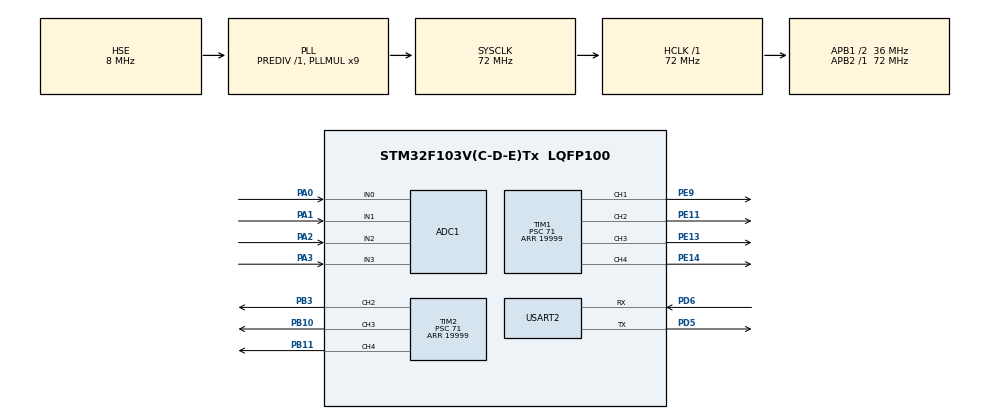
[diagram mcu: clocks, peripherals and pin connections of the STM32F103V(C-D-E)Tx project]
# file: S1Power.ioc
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ADC1.Channel-0\#ChannelRegularConversion=ADC_CHANNEL_0
ADC1.Channel-1\#ChannelRegularConversion=ADC_CHANNEL_1
ADC1.Channel-2\#ChannelRegularConversion=ADC_CHANNEL_2
ADC1.Channel-3\#ChannelRegularConversion=ADC_CHANNEL_3
ADC1.ContinuousConvMode=ENABLE
ADC1.DiscontinuousConvMode=DISABLE
ADC1.NbrOfConversion=4
ADC1.NbrOfConversionFlag=1
ADC1.Rank-0\#ChannelRegularConversion=1
ADC1.Rank-1\#ChannelRegularConversion=2
ADC1.Rank-2\#ChannelRegularConversion=3
ADC1.Rank-3\#ChannelRegularConversion=4
ADC1.SamplingTime-0\#ChannelRegularConversion=ADC_SAMPLETIME_13CYCLES_5
ADC1.SamplingTime-1\#ChannelRegularConversion=ADC_SAMPLETIME_13CYCLES_5
ADC1.SamplingTime-2\#ChannelRegularConversion=ADC_SAMPLETIME_13CYCLES_5
ADC1.SamplingTime-3\#ChannelRegularConversion=ADC_SAMPLETIME_13CYCLES_5
ADC1.master=1
Dma.ADC1.2.Direction=DMA_PERIPH_TO_MEMORY
Dma.ADC1.2.Instance=DMA1_Channel1
Dma.ADC1.2.MemDataAlignment=DMA_MDATAALIGN_WORD
Dma.ADC1.2.MemInc=DMA_MINC_ENABLE
Dma.ADC1.2.Mode=DMA_CIRCULAR
Dma.ADC1.2.PeriphDataAlignment=DMA_PDATAALIGN_WORD
Dma.ADC1.2.PeriphInc=DMA_PINC_DISABLE
Dma.ADC1.2.Priority=DMA_PRIORITY_LOW
Dma.Request0=USART2_RX
Dma.Request1=USART2_TX
Dma.Request2=ADC1
Dma.USART2_RX.0.Direction=DMA_PERIPH_TO_MEMORY
Dma.USART2_RX.0.Instance=DMA1_Channel6
Dma.USART2_RX.0.MemDataAlignment=DMA_MDATAALIGN_BYTE
Dma.USART2_RX.0.MemInc=DMA_MINC_ENABLE
Dma.USART2_RX.0.Mode=DMA_NORMAL
Dma.USART2_RX.0.PeriphDataAlignment=DMA_PDATAALIGN_BYTE
Dma.USART2_RX.0.PeriphInc=DMA_PINC_DISABLE
Dma.USART2_RX.0.Priority=DMA_PRIORITY_LOW
Dma.USART2_TX.1.Direction=DMA_MEMORY_TO_PERIPH
Dma.USART2_TX.1.Instance=DMA1_Channel7
Dma.USART2_TX.1.MemDataAlignment=DMA_MDATAALIGN_BYTE
Dma.USART2_TX.1.MemInc=DMA_MINC_ENABLE
Dma.USART2_TX.1.Mode=DMA_NORMAL
Dma.USART2_TX.1.PeriphDataAlignment=DMA_PDATAALIGN_BYTE
Dma.USART2_TX.1.PeriphInc=DMA_PINC_DISABLE
Dma.USART2_TX.1.Priority=DMA_PRIORITY_LOW
IWDG.Prescaler=IWDG_PRESCALER_64
IWDG.Reload=250
Mcu.Family=STM32F1
Mcu.Name=STM32F103V(C-D-E)Tx
Mcu.Package=LQFP100
NVIC.DMA1_Channel1_IRQn=true\:0\:0\:false\:false\:true\:false\:true
NVIC.DMA1_Channel6_IRQn=true\:0\:0\:false\:false\:true\:false\:true
NVIC.DMA1_Channel7_IRQn=true\:0\:0\:false\:false\:true\:false\:true
NVIC.PriorityGroup=NVIC_PRIORITYGROUP_4
NVIC.USART2_IRQn=true\:0\:0\:false\:false\:true\:true\:true
OSC_IN.Mode=HSE-External-Oscillator
OSC_IN.Signal=RCC_OSC_IN
OSC_OUT.Mode=HSE-External-Oscillator
OSC_OUT.Signal=RCC_OSC_OUT
PA0-WKUP.Signal=ADCx_IN0
PA1.Signal=ADCx_IN1
PA13.Mode=Serial_Wire
PA13.Signal=SYS_JTMS-SWDIO
PA14.Mode=Serial_Wire
PA14.Signal=SYS_JTCK-SWCLK
PA2.Signal=ADCx_IN2
PA3.Signal=ADCx_IN3
PB10.Signal=S_TIM2_CH3
PB11.Signal=S_TIM2_CH4
PB3.Signal=S_TIM2_CH2
PC14-OSC32_IN.Mode=LSE-External-Oscillator
PC14-OSC32_IN.Signal=RCC_OSC32_IN
PC15-OSC32_OUT.Mode=LSE-External-Oscillator
PC15-OSC32_OUT.Signal=RCC_OSC32_OUT
PD5.Mode=Asynchronous
PD5.Signal=USART2_TX
PD6.Mode=Asynchronous
PD6.Signal=USART2_RX
PE11.Signal=S_TIM1_CH2
PE13.Signal=S_TIM1_CH3
PE14.Signal=S_TIM1_CH4
PE9.Signal=S_TIM1_CH1
ProjectManager.HeapSize=0x200
ProjectManager.StackSize=0x400
ProjectManager.TargetToolchain=Other Toolchains (GPDSC)
RCC.ADCPresc=RCC_ADCPCLK2_DIV6
RCC.AHBFreq_Value=72000000
RCC.APB1CLKDivider=RCC_HCLK_DIV2
RCC.APB1Freq_Value=36000000
RCC.APB1TimFreq_Value=72000000
RCC.APB2Freq_Value=72000000
RCC.APB2TimFreq_Value=72000000
RCC.HCLKFreq_Value=72000000
RCC.PLLMUL=RCC_PLL_MUL9
RCC.PLLSourceVirtual=RCC_PLLSOURCE_HSE
RCC.SYSCLKFreq_VALUE=72000000
RCC.SYSCLKSource=RCC_SYSCLKSOURCE_PLLCLK
RCC.USBFreq_Value=72000000
SH.ADCx_IN0.0=ADC1_IN0,IN0
SH.ADCx_IN1.0=ADC1_IN1,IN1
SH.ADCx_IN2.0=ADC1_IN2,IN2
SH.ADCx_IN3.0=ADC1_IN3,IN3
SH.S_TIM1_CH1.0=TIM1_CH1,PWM Generation1 CH1
SH.S_TIM1_CH2.0=TIM1_CH2,PWM Generation2 CH2
SH.S_TIM1_CH3.0=TIM1_CH3,PWM Generation3 CH3
SH.S_TIM1_CH4.0=TIM1_CH4,PWM Generation4 CH4
SH.S_TIM2_CH2.0=TIM2_CH2,PWM Generation2 CH2
SH.S_TIM2_CH3.0=TIM2_CH3,PWM Generation3 CH3
SH.S_TIM2_CH4.0=TIM2_CH4,PWM Generation4 CH4
TIM1.Channel-PWM\ Generation1\ CH1=TIM_CHANNEL_1
TIM1.Channel-PWM\ Generation2\ CH2=TIM_CHANNEL_2
TIM1.Channel-PWM\ Generation3\ CH3=TIM_CHANNEL_3
TIM1.Channel-PWM\ Generation4\ CH4=TIM_CHANNEL_4
TIM1.Period=19999
TIM1.Prescaler=71
TIM1.Pulse-PWM\ Generation2\ CH2=1500
TIM1.Pulse-PWM\ Generation3\ CH3=1500
TIM1.Pulse-PWM\ Generation4\ CH4=1500
TIM2.Channel-PWM\ Generation2\ CH2=TIM_CHANNEL_2
TIM2.Channel-PWM\ Generation3\ CH3=TIM_CHANNEL_3
TIM2.Channel-PWM\ Generation4\ CH4=TIM_CHANNEL_4
TIM2.Period=19999
TIM2.Prescaler=71
TIM2.Pulse-PWM\ Generation2\ CH2=1500
TIM2.Pulse-PWM\ Generation3\ CH3=1500
TIM2.Pulse-PWM\ Generation4\ CH4=1500
USART2.VirtualMode=VM_ASYNC
VP_IWDG_VS_IWDG.Mode=IWDG_Activate
VP_TIM1_VS_ClockSourceINT.Mode=Internal
VP_TIM2_VS_ClockSourceINT.Mode=Internal
board=custom

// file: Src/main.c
/* USER CODE BEGIN Header */
/**
  ******************************************************************************
  * @file           : main.c
  * @brief          : Main program body
  ******************************************************************************
  * @attention
  *
  * <h2><center>&copy; Copyright (c) 2019 STMicroelectronics.
  * All rights reserved.</center></h2>
  *
  * This software component is licensed by ST under BSD 3-Clause license,
  * the "License"; You may not use this file except in compliance with the
  * License. You may obtain a copy of the License at:
  *                        opensource.org/licenses/BSD-3-Clause
  *
  ******************************************************************************
  */
/* USER CODE END Header */

#include "main.h"

ADC_HandleTypeDef hadc1;
DMA_HandleTypeDef hdma_adc1;

IWDG_HandleTypeDef hiwdg;

TIM_HandleTypeDef htim1;
TIM_HandleTypeDef htim2;

UART_HandleTypeDef huart2;
DMA_HandleTypeDef hdma_usart2_rx;
DMA_HandleTypeDef hdma_usart2_tx;

/* USER CODE BEGIN PV */
u8 SystemBegin = 0;
vu8 UART2RX_Len = 0;
vu8 UART2RX_Finish = 0;
u8 UART2RX_Cache[70];
char UART2RX_CacheSize = 70;
u8 ModeFlag = 0;
u8 AFlag, BFlag, CFlag, DFlag;
u16 XPoint, YPoint, ZPoint;
int Machine[4];
u8 Mode = 0;
float ModeCoefficient = 1;
u8* UART2RX_Position = NULL;
u8 UART2TX_Send[5] = "$0:0%";
u8 UART2TX_Size = 5;
u8 UART2TX_Initialization[5] = "$9:9%";
uint32_t ADCCache[4];
double ADCResult[4];
/* USER CODE END PV */

void SystemClock_Config(void);
static void MX_GPIO_Init(void);
static void MX_DMA_Init(void);
static void MX_ADC1_Init(void);
static void MX_TIM1_Init(void);
static void MX_TIM2_Init(void);
static void MX_USART2_UART_Init(void);
static void MX_IWDG_Init(void);

int main(void)
{

  /* MCU Configuration--------------------------------------------------------*/

  /* Reset of all peripherals, Initializes the Flash interface and the Systick. */
  HAL_Init();

  /* Configure the system clock */
  SystemClock_Config();

  /* Initialize all configured peripherals */
  MX_GPIO_Init();
  MX_DMA_Init();
  MX_ADC1_Init();
  MX_TIM1_Init();
  MX_TIM2_Init();
  MX_USART2_UART_Init();
  MX_IWDG_Init();
  /* USER CODE BEGIN 2 */
	while (!SystemBegin)
	{
		if (UART2RX_Finish == 1)
		{
			UART2RX_Finish = 0;
			if ((UART2RX_Position[1]) <= '9' && (UART2RX_Position[1]) >= '0')
			{
				SystemBegin = 1;
			}
			HAL_UART_Receive_DMA(&huart2, UART2RX_Cache, UART2RX_CacheSize);
		}
		HAL_IWDG_Refresh(&hiwdg);
	}
	HAL_IWDG_Refresh(&hiwdg);
	HAL_ADCEx_Calibration_Start(&hadc1);
	HAL_ADC_Start_DMA(&hadc1, ADCCache, 4);
	HAL_TIM_PWM_Start(&htim1, TIM_CHANNEL_1);
	HAL_TIM_PWM_Start(&htim1, TIM_CHANNEL_2);
	HAL_TIM_PWM_Start(&htim1, TIM_CHANNEL_3);
	HAL_TIM_PWM_Start(&htim1, TIM_CHANNEL_4);
	HAL_TIM_PWM_Start(&htim2, TIM_CHANNEL_2);
	HAL_TIM_PWM_Start(&htim2, TIM_CHANNEL_3);
	TIM1->CCR1 = 1500;
	TIM1->CCR2 = 1500;
	TIM1->CCR3 = 1500;
	TIM1->CCR4 = 1500;
	TIM2->CCR2 = 1500;
	TIM2->CCR3 = 1500;
	HAL_UART_Transmit_DMA(&huart2, UART2TX_Initialization, UART2TX_Size);
  /* USER CODE END 2 */

  /* Infinite loop */
	while (1)
	{

    /* USER CODE BEGIN 3 */
		HAL_IWDG_Refresh(&hiwdg);
		if (UART2RX_Finish == 1)
		{
			UART2RX_Finish = 0;
			ModeFlag = (UART2RX_Position[1] - '0');
			XPoint = (UART2RX_Position[3] - '0') * 100 + (UART2RX_Position[4] - '0') * 10 + (UART2RX_Position[5] - '0');
			YPoint = (UART2RX_Position[7] - '0') * 100 + (UART2RX_Position[8] - '0') * 10 + (UART2RX_Position[9] - '0');
			ZPoint = (UART2RX_Position[11] - '0') * 100 + (UART2RX_Position[12] - '0') * 10 + (UART2RX_Position[13] - '0');
			AFlag = (XPoint > YPoint);
			BFlag = ((XPoint + YPoint) > 200);
			CFlag = (XPoint > 100);
			DFlag = (YPoint > 100);
			switch (ModeFlag)
			{
			case 0:
				ModeCoefficient = 0.8;
				if (BFlag == 1)
				{
					if (CFlag == 0)
					{
						Mode = 3;
					}
					else if (DFlag == 0)
					{
						Mode = 4;
					}
					else
					{
						if (AFlag == 1)
						{
							Mode = 1;
						}
						else
						{
							Mode = 2;
						}
					}
				}
				else
				{
					if (CFlag == 1)
					{
						Mode = 3;
					}
					else if (DFlag == 1)
					{
						Mode = 4;
					}
					else
					{
						if (AFlag == 0)
						{
							Mode = 1;
						}
						else
						{
							Mode = 2;
						}
					}
				}
				break;
			case 1:
				ModeCoefficient = 0.8;
				Mode = 5;
				break;
			case 2:
				ModeCoefficient = 1;
				if (BFlag == 1)
				{
					if (CFlag == 0)
					{
						Mode = 3;
					}
					else if (DFlag == 0)
					{
						Mode = 4;
					}
					else
					{
						if (AFlag == 1)
						{
							Mode = 1;
						}
						else
						{
							Mode = 2;
						}
					}
				}
				else
				{
					if (CFlag == 1)
					{
						Mode = 3;
					}
					else if (DFlag == 1)
					{
						Mode = 4;
					}
					else
					{
						if (AFlag == 0)
						{
							Mode = 1;
						}
						else
						{
							Mode = 2;
						}
					}
				}
				break;
			case 3:
				ModeCoefficient = 1;
				Mode = 5;
				break;
			}

			switch (Mode)
			{
			case 1:
				Machine[0] = XPoint;
				Machine[1] = XPoint;
				Machine[2] = (100 - XPoint + YPoint);
				Machine[3] = (100 - XPoint + YPoint);
				for (int i = 0; i < 4; ++i)
				{
					Machine[i] = (int)(((Machine[i]) * 10 - 1000)*ModeCoefficient) + 1500;
				}
				ZPoint = ZPoint * 10 + 500;
				TIM1->CCR1 = Machine[0];
				TIM1->CCR2 = Machine[1];
				TIM1->CCR4 = Machine[2];
				TIM1->CCR3 = Machine[3];
				TIM2->CCR2 = ZPoint;
				TIM2->CCR3 = ZPoint;
				break;
			case 2:
				Machine[0] = YPoint;
				Machine[1] = YPoint;
				Machine[2] = (100 - XPoint + YPoint);
				Machine[3] = (100 - XPoint + YPoint);
				for (int i = 0; i < 4; ++i)
				{
					Machine[i] = (int)(((Machine[i]) * 10 - 1000)*ModeCoefficient) + 1500;
				}
				ZPoint = ZPoint * 10 + 500;
				TIM1->CCR1 = Machine[0];
				TIM1->CCR2 = Machine[1];
				TIM1->CCR4 = Machine[2];
				TIM1->CCR3 = Machine[3];
				TIM2->CCR2 = ZPoint;
				TIM2->CCR3 = ZPoint;
				break;
			case 3:
				Machine[0] = (XPoint + YPoint - 100);
				Machine[1] = (XPoint + YPoint - 100);
				Machine[2] = YPoint;
				Machine[3] = YPoint;
				for (int i = 0; i < 4; ++i)
				{
					Machine[i] = (int)(((Machine[i]) * 10 - 1000)*ModeCoefficient) + 1500;
				}
				ZPoint = ZPoint * 10 + 500;
				TIM1->CCR1 = Machine[0];
				TIM1->CCR2 = Machine[1];
				TIM1->CCR4 = Machine[2];
				TIM1->CCR3 = Machine[3];
				TIM2->CCR2 = ZPoint;
				TIM2->CCR3 = ZPoint;
				break;
			case 4:
				Machine[0] = (XPoint + YPoint - 100);
				Machine[1] = (XPoint + YPoint - 100);
				Machine[2] = (200 - XPoint);
				Machine[3] = (200 - XPoint);
				for (int i = 0; i < 4; ++i)
				{
					Machine[i] = (int)(((Machine[i]) * 10 - 1000)*ModeCoefficient) + 1500;
				}
				ZPoint = ZPoint * 10 + 500;
				TIM1->CCR1 = Machine[0];
				TIM1->CCR2 = Machine[1];
				TIM1->CCR4 = Machine[2];
				TIM1->CCR3 = Machine[3];
				TIM2->CCR2 = ZPoint;
				TIM2->CCR3 = ZPoint;
				break;
			case 5:
				Machine[0] = XPoint;
				Machine[1] = (200 - XPoint);
				Machine[2] = XPoint;
				Machine[3] = 200 - XPoint;
				for (int i = 0; i < 4; ++i)
				{
					Machine[i] = (int)(((Machine[i]) * 10 - 1000)*ModeCoefficient) + 1500;
				}
				ZPoint = ZPoint * 10 + 500;
				TIM1->CCR1 = Machine[0];
				TIM1->CCR2 = Machine[1];
				TIM1->CCR4 = Machine[2];
				TIM1->CCR3 = Machine[3];
				TIM2->CCR2 = ZPoint;
				TIM2->CCR3 = ZPoint;
				break;
			}
			for (int i = 0; i < 4; ++i)
			{
				ADCResult[i] = 3.3 / 4096*ADCCache[i];
			}
			if ((ADCResult[2]) > 2)
			{
				UART2TX_Send[1] = '1';
			}
			else
			{
				UART2TX_Send[1] = '0';
			}
			if ((ADCResult[3]) > 2)
			{
				UART2TX_Send[3] = '1';
			}
			else
			{
				UART2TX_Send[3] = '0';
			}
			HAL_UART_Transmit_DMA(&huart2, UART2TX_Send, UART2TX_Size);
			HAL_UART_Receive_DMA(&huart2, UART2RX_Cache, UART2RX_CacheSize);

		}
	}
  /* USER CODE END 3 */
}

void SystemClock_Config(void)
{
  RCC_OscInitTypeDef RCC_OscInitStruct = {0};
  RCC_ClkInitTypeDef RCC_ClkInitStruct = {0};
  RCC_PeriphCLKInitTypeDef PeriphClkInit = {0};

  /** Initializes the CPU, AHB and APB busses clocks
  */
  RCC_OscInitStruct.OscillatorType = RCC_OSCILLATORTYPE_LSI|RCC_OSCILLATORTYPE_HSE;
  RCC_OscInitStruct.HSEState = RCC_HSE_ON;
  RCC_OscInitStruct.HSEPredivValue = RCC_HSE_PREDIV_DIV1;
  RCC_OscInitStruct.HSIState = RCC_HSI_ON;
  RCC_OscInitStruct.LSIState = RCC_LSI_ON;
  RCC_OscInitStruct.PLL.PLLState = RCC_PLL_ON;
  RCC_OscInitStruct.PLL.PLLSource = RCC_PLLSOURCE_HSE;
  RCC_OscInitStruct.PLL.PLLMUL = RCC_PLL_MUL9;
  if (HAL_RCC_OscConfig(&RCC_OscInitStruct) != HAL_OK)
  {
    Error_Handler();
  }
  /** Initializes the CPU, AHB and APB busses clocks
  */
  RCC_ClkInitStruct.ClockType = RCC_CLOCKTYPE_HCLK|RCC_CLOCKTYPE_SYSCLK
                              |RCC_CLOCKTYPE_PCLK1|RCC_CLOCKTYPE_PCLK2;
  RCC_ClkInitStruct.SYSCLKSource = RCC_SYSCLKSOURCE_PLLCLK;
  RCC_ClkInitStruct.AHBCLKDivider = RCC_SYSCLK_DIV1;
  RCC_ClkInitStruct.APB1CLKDivider = RCC_HCLK_DIV2;
  RCC_ClkInitStruct.APB2CLKDivider = RCC_HCLK_DIV1;

  if (HAL_RCC_ClockConfig(&RCC_ClkInitStruct, FLASH_LATENCY_2) != HAL_OK)
  {
    Error_Handler();
  }
  PeriphClkInit.PeriphClockSelection = RCC_PERIPHCLK_ADC;
  PeriphClkInit.AdcClockSelection = RCC_ADCPCLK2_DIV6;
  if (HAL_RCCEx_PeriphCLKConfig(&PeriphClkInit) != HAL_OK)
  {
    Error_Handler();
  }
}

static void MX_ADC1_Init(void)
{

  ADC_ChannelConfTypeDef sConfig = {0};

  /** Common config
  */
  hadc1.Instance = ADC1;
  hadc1.Init.ScanConvMode = ADC_SCAN_ENABLE;
  hadc1.Init.ContinuousConvMode = ENABLE;
  hadc1.Init.DiscontinuousConvMode = DISABLE;
  hadc1.Init.ExternalTrigConv = ADC_SOFTWARE_START;
  hadc1.Init.DataAlign = ADC_DATAALIGN_RIGHT;
  hadc1.Init.NbrOfConversion = 4;
  if (HAL_ADC_Init(&hadc1) != HAL_OK)
  {
    Error_Handler();
  }
  /** Configure Regular Channel
  */
  sConfig.Channel = ADC_CHANNEL_0;
  sConfig.Rank = ADC_REGULAR_RANK_1;
  sConfig.SamplingTime = ADC_SAMPLETIME_13CYCLES_5;
  if (HAL_ADC_ConfigChannel(&hadc1, &sConfig) != HAL_OK)
  {
    Error_Handler();
  }
  /** Configure Regular Channel
  */
  sConfig.Channel = ADC_CHANNEL_1;
  sConfig.Rank = ADC_REGULAR_RANK_2;
  if (HAL_ADC_ConfigChannel(&hadc1, &sConfig) != HAL_OK)
  {
    Error_Handler();
  }
  /** Configure Regular Channel
  */
  sConfig.Channel = ADC_CHANNEL_2;
  sConfig.Rank = ADC_REGULAR_RANK_3;
  if (HAL_ADC_ConfigChannel(&hadc1, &sConfig) != HAL_OK)
  {
    Error_Handler();
  }
  /** Configure Regular Channel
  */
  sConfig.Channel = ADC_CHANNEL_3;
  sConfig.Rank = ADC_REGULAR_RANK_4;
  if (HAL_ADC_ConfigChannel(&hadc1, &sConfig) != HAL_OK)
  {
    Error_Handler();
  }

}

static void MX_IWDG_Init(void)
{

  hiwdg.Instance = IWDG;
  hiwdg.Init.Prescaler = IWDG_PRESCALER_64;
  hiwdg.Init.Reload = 250;
  if (HAL_IWDG_Init(&hiwdg) != HAL_OK)
  {
    Error_Handler();
  }

}

static void MX_TIM1_Init(void)
{

  TIM_ClockConfigTypeDef sClockSourceConfig = {0};
  TIM_MasterConfigTypeDef sMasterConfig = {0};
  TIM_OC_InitTypeDef sConfigOC = {0};
  TIM_BreakDeadTimeConfigTypeDef sBreakDeadTimeConfig = {0};

  htim1.Instance = TIM1;
  htim1.Init.Prescaler = 71;
  htim1.Init.CounterMode = TIM_COUNTERMODE_UP;
  htim1.Init.Period = 19999;
  htim1.Init.ClockDivision = TIM_CLOCKDIVISION_DIV1;
  htim1.Init.RepetitionCounter = 0;
  htim1.Init.AutoReloadPreload = TIM_AUTORELOAD_PRELOAD_DISABLE;
  if (HAL_TIM_Base_Init(&htim1) != HAL_OK)
  {
    Error_Handler();
  }
  sClockSourceConfig.ClockSource = TIM_CLOCKSOURCE_INTERNAL;
  if (HAL_TIM_ConfigClockSource(&htim1, &sClockSourceConfig) != HAL_OK)
  {
    Error_Handler();
  }
  if (HAL_TIM_PWM_Init(&htim1) != HAL_OK)
  {
    Error_Handler();
  }
  sMasterConfig.MasterOutputTrigger = TIM_TRGO_RESET;
  sMasterConfig.MasterSlaveMode = TIM_MASTERSLAVEMODE_DISABLE;
  if (HAL_TIMEx_MasterConfigSynchronization(&htim1, &sMasterConfig) != HAL_OK)
  {
    Error_Handler();
  }
  sConfigOC.OCMode = TIM_OCMODE_PWM1;
  sConfigOC.Pulse = 0;
  sConfigOC.OCPolarity = TIM_OCPOLARITY_HIGH;
  sConfigOC.OCNPolarity = TIM_OCNPOLARITY_HIGH;
  sConfigOC.OCFastMode = TIM_OCFAST_DISABLE;
  sConfigOC.OCIdleState = TIM_OCIDLESTATE_RESET;
  sConfigOC.OCNIdleState = TIM_OCNIDLESTATE_RESET;
  if (HAL_TIM_PWM_ConfigChannel(&htim1, &sConfigOC, TIM_CHANNEL_1) != HAL_OK)
  {
    Error_Handler();
  }
  sConfigOC.Pulse = 1500;
  if (HAL_TIM_PWM_ConfigChannel(&htim1, &sConfigOC, TIM_CHANNEL_2) != HAL_OK)
  {
    Error_Handler();
  }
  if (HAL_TIM_PWM_ConfigChannel(&htim1, &sConfigOC, TIM_CHANNEL_3) != HAL_OK)
  {
    Error_Handler();
  }
  if (HAL_TIM_PWM_ConfigChannel(&htim1, &sConfigOC, TIM_CHANNEL_4) != HAL_OK)
  {
    Error_Handler();
  }
  sBreakDeadTimeConfig.OffStateRunMode = TIM_OSSR_DISABLE;
  sBreakDeadTimeConfig.OffStateIDLEMode = TIM_OSSI_DISABLE;
  sBreakDeadTimeConfig.LockLevel = TIM_LOCKLEVEL_OFF;
  sBreakDeadTimeConfig.DeadTime = 0;
  sBreakDeadTimeConfig.BreakState = TIM_BREAK_DISABLE;
  sBreakDeadTimeConfig.BreakPolarity = TIM_BREAKPOLARITY_HIGH;
  sBreakDeadTimeConfig.AutomaticOutput = TIM_AUTOMATICOUTPUT_DISABLE;
  if (HAL_TIMEx_ConfigBreakDeadTime(&htim1, &sBreakDeadTimeConfig) != HAL_OK)
  {
    Error_Handler();
  }
  HAL_TIM_MspPostInit(&htim1);

}

static void MX_TIM2_Init(void)
{

  TIM_ClockConfigTypeDef sClockSourceConfig = {0};
  TIM_MasterConfigTypeDef sMasterConfig = {0};
  TIM_OC_InitTypeDef sConfigOC = {0};

  htim2.Instance = TIM2;
  htim2.Init.Prescaler = 71;
  htim2.Init.CounterMode = TIM_COUNTERMODE_UP;
  htim2.Init.Period = 19999;
  htim2.Init.ClockDivision = TIM_CLOCKDIVISION_DIV1;
  htim2.Init.AutoReloadPreload = TIM_AUTORELOAD_PRELOAD_DISABLE;
  if (HAL_TIM_Base_Init(&htim2) != HAL_OK)
  {
    Error_Handler();
  }
  sClockSourceConfig.ClockSource = TIM_CLOCKSOURCE_INTERNAL;
  if (HAL_TIM_ConfigClockSource(&htim2, &sClockSourceConfig) != HAL_OK)
  {
    Error_Handler();
  }
  if (HAL_TIM_PWM_Init(&htim2) != HAL_OK)
  {
    Error_Handler();
  }
  sMasterConfig.MasterOutputTrigger = TIM_TRGO_RESET;
  sMasterConfig.MasterSlaveMode = TIM_MASTERSLAVEMODE_DISABLE;
  if (HAL_TIMEx_MasterConfigSynchronization(&htim2, &sMasterConfig) != HAL_OK)
  {
    Error_Handler();
  }
  sConfigOC.OCMode = TIM_OCMODE_PWM1;
  sConfigOC.Pulse = 1500;
  sConfigOC.OCPolarity = TIM_OCPOLARITY_HIGH;
  sConfigOC.OCFastMode = TIM_OCFAST_DISABLE;
  if (HAL_TIM_PWM_ConfigChannel(&htim2, &sConfigOC, TIM_CHANNEL_2) != HAL_OK)
  {
    Error_Handler();
  }
  if (HAL_TIM_PWM_ConfigChannel(&htim2, &sConfigOC, TIM_CHANNEL_3) != HAL_OK)
  {
    Error_Handler();
  }
  if (HAL_TIM_PWM_ConfigChannel(&htim2, &sConfigOC, TIM_CHANNEL_4) != HAL_OK)
  {
    Error_Handler();
  }
  HAL_TIM_MspPostInit(&htim2);

}

static void MX_USART2_UART_Init(void)
{

  huart2.Instance = USART2;
  huart2.Init.BaudRate = 115200;
  huart2.Init.WordLength = UART_WORDLENGTH_8B;
  huart2.Init.StopBits = UART_STOPBITS_1;
  huart2.Init.Parity = UART_PARITY_NONE;
  huart2.Init.Mode = UART_MODE_TX_RX;
  huart2.Init.HwFlowCtl = UART_HWCONTROL_NONE;
  huart2.Init.OverSampling = UART_OVERSAMPLING_16;
  if (HAL_UART_Init(&huart2) != HAL_OK)
  {
    Error_Handler();
  }
  /* USER CODE BEGIN USART2_Init 2 */
	__HAL_UART_ENABLE_IT(&huart2, UART_IT_IDLE);
	HAL_UART_Receive_DMA(&huart2, UART2RX_Cache, UART2RX_CacheSize);
  /* USER CODE END USART2_Init 2 */

}

static void MX_DMA_Init(void)
{
  /* DMA controller clock enable */
  __HAL_RCC_DMA1_CLK_ENABLE();

  /* DMA interrupt init */
  /* DMA1_Channel1_IRQn interrupt configuration */
  HAL_NVIC_SetPriority(DMA1_Channel1_IRQn, 0, 0);
  HAL_NVIC_EnableIRQ(DMA1_Channel1_IRQn);
  /* DMA1_Channel6_IRQn interrupt configuration */
  HAL_NVIC_SetPriority(DMA1_Channel6_IRQn, 0, 0);
  HAL_NVIC_EnableIRQ(DMA1_Channel6_IRQn);
  /* DMA1_Channel7_IRQn interrupt configuration */
  HAL_NVIC_SetPriority(DMA1_Channel7_IRQn, 0, 0);
  HAL_NVIC_EnableIRQ(DMA1_Channel7_IRQn);

}

static void MX_GPIO_Init(void)
{

  /* GPIO Ports Clock Enable */
  __HAL_RCC_GPIOC_CLK_ENABLE();
  __HAL_RCC_GPIOA_CLK_ENABLE();
  __HAL_RCC_GPIOE_CLK_ENABLE();
  __HAL_RCC_GPIOB_CLK_ENABLE();
  __HAL_RCC_GPIOD_CLK_ENABLE();

}

void Error_Handler(void)
{
}

/************************ (C) COPYRIGHT STMicroelectronics *****END OF FILE****/
